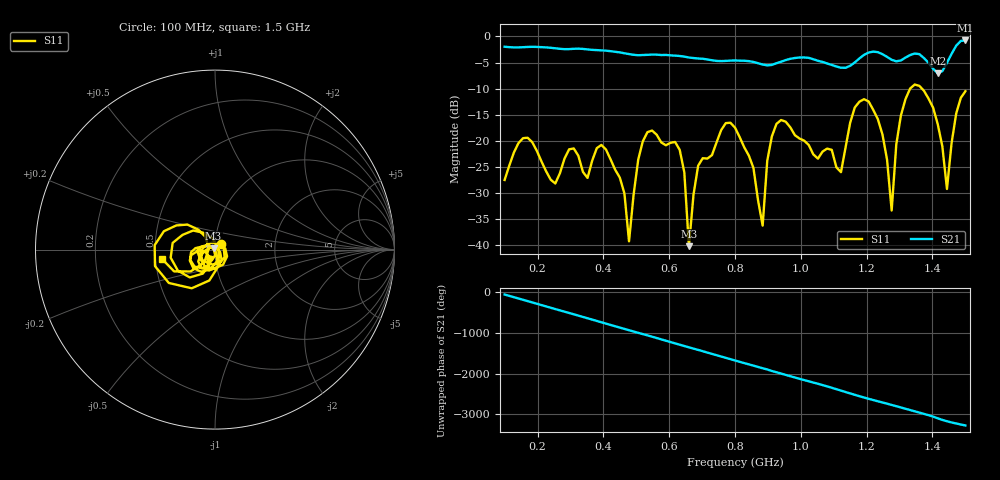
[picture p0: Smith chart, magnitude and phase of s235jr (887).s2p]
! NanoVNA-App
! Date: 2025-09-25 15:11:04
! Start: 100MHz Stop: 1,5GHz Points: 101
! S-Parameter data: F S11 S21 S12 S22
# Hz S RI R 50
!  Frequency  S11_Real  S11_Imag  S21_Real  S21_Imag  S12_Real  S12_Imag  S22_Real  S22_Imag
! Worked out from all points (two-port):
!   101 points, 100 MHz to 1.5 GHz, reference 50 ohm
!   highest |S21| = -0.76 dB at 1.5 GHz (marker M1); lowest = -7.0 dB at 1.416 GHz (marker M2)
!   |S21| within 3 dB of the highest: start of sweep to 634.9 MHz; 1.187 GHz to 1.258 GHz (71.05 MHz wide, 5.81 % of centre) (the widest 2 of 4)
!   lowest |S11| = -40.1 dB at 660 MHz (marker M3), VSWR 1.02, Z = 49.2 + j0.616 ohm
!   |S11| at or under -10 dB: start of sweep to 1.332 GHz; 1.368 GHz to end of sweep
!   S12 and S22 are empty: the file has one direction only
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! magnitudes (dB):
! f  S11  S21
! 100 MHz  -27.5  -2.0
! 156 MHz  -19.5  -2.0
! 338 MHz  -25.9  -2.4
! 408 MHz  -21.6  -2.7
! 478 MHz  -39.2  -3.4
! 520 MHz  -20.1  -3.5
! 576 MHz  -20.3  -3.6
! 632 MHz  -21.7  -3.7
! 660 MHz  -40.1  -4.0
! 688 MHz  -24.7  -4.2
! 800 MHz  -17.4  -4.6
! 884 MHz  -36.2  -5.4
! 926 MHz  -16.7  -5.1
! 1.038 GHz  -22.6  -4.4
! 1.122 GHz  -26.0  -6.0
! 1.206 GHz  -12.4  -3.1
! 1.276 GHz  -33.3  -4.5
! 1.29 GHz  -20.7  -4.7
! 1.332 GHz  -10.0  -3.6
! 1.416 GHz  -16.8  -7.0
! 1.444 GHz  -29.2  -5.0
! 1.5 GHz  -10.5  -0.8
